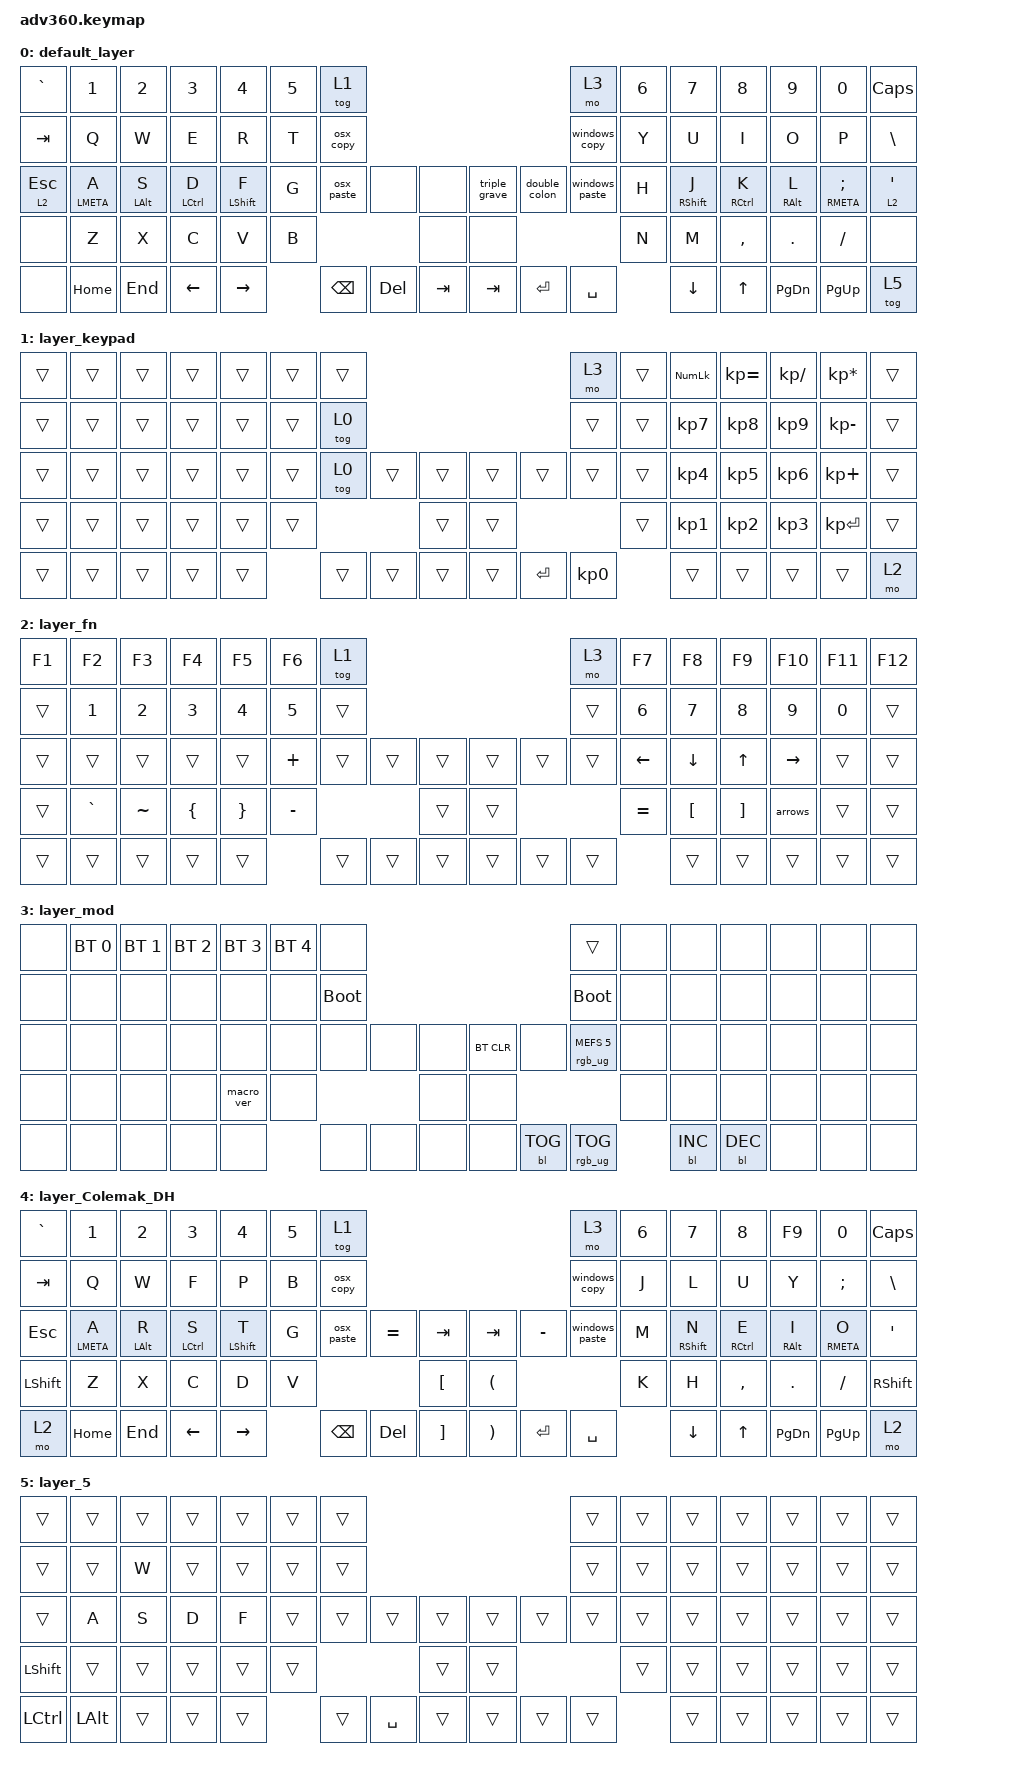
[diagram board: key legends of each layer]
/*
 * Copyright (c) 2020 The ZMK Contributors
 *
 * SPDX-License-Identifier: MIT
 */
/* THIS FILE WAS GENERATED!
 *
 * This file was generated automatically. You may or may not want to
 * edit it directly.
 */

#include <behaviors.dtsi>
#include <dt-bindings/zmk/backlight.h>
#include <dt-bindings/zmk/bt.h>
#include <dt-bindings/zmk/keys.h>
#include <dt-bindings/zmk/rgb.h>

/ {
    behaviors {
        #include "macros.dtsi"
    #include "version.dtsi"

        hm: homerow_mods {
            compatible = "zmk,behavior-hold-tap";
            label = "HOMEROW_MODS";
            #binding-cells = <2>;
            tapping-term-ms = <200>;
            require-prior-idle-ms = <130>;
            flavor = "tap-preferred";
            bindings = <&kp>, <&kp>;

            quick-tap-ms = <175>;
        };

        arrows: arrows {
            compatible = "zmk,behavior-mod-morph";
            label = "ARROWS";
            bindings = <&arrow>, <&fat_arrow>;

            #binding-cells = <0>;
            mods = <(MOD_LSFT|MOD_RSFT)>;
        };

        hk: hk {
            compatible = "zmk,behavior-hold-tap";
            label = "HK";
            #binding-cells = <2>;
            tapping-term-ms = <250>;
            require-prior-idle-ms = <200>;
            flavor = "tap-preferred";
            bindings = <&kp>, <&kp>;

            quick-tap-ms = <175>;
        };
    };

    macros {
        osx_copy: osx_copy {
            compatible = "zmk,behavior-macro";
            #binding-cells = <0>;
            bindings = <&kp LG(C)>;
            label = "OSX_COPY";
        };

        osx_paste: osx_paste {
            compatible = "zmk,behavior-macro";
            #binding-cells = <0>;
            bindings = <&kp LG(V)>;
            label = "OSX_PASTE";
        };

        windows_copy: windows_copy {
            compatible = "zmk,behavior-macro";
            #binding-cells = <0>;
            bindings = <&kp LC(C)>;
            label = "WINDOWS_COPY";
        };

        windows_paste: windows_paste {
            compatible = "zmk,behavior-macro";
            #binding-cells = <0>;
            bindings = <&kp LC(V)>;
            label = "WINDOWS_PASTE";
        };

        triple_grave: triple_grave {
            compatible = "zmk,behavior-macro";
            #binding-cells = <0>;
            bindings = <&kp GRAVE &kp GRAVE &kp GRAVE>;
            label = "TRIPLE_GRAVE";
        };

        arrow: arrow {
            compatible = "zmk,behavior-macro";
            #binding-cells = <0>;
            bindings = <&kp MINUS &kp GT>;
            label = "ARROW";
        };

        fat_arrow: fat_arrow {
            compatible = "zmk,behavior-macro";
            #binding-cells = <0>;
            bindings = <&kp EQUAL &kp GT>;
            label = "FAT_ARROW";
        };

        double_colon: double_colon {
            compatible = "zmk,behavior-macro";
            #binding-cells = <0>;
            bindings = <&kp COLON &kp COLON>;
            label = "DOUBLE_COLON";
        };
    };

    keymap {
        compatible = "zmk,keymap";

        default_layer {
            bindings = <
&kp GRAVE     &kp N1       &kp N2      &kp N3       &kp N4       &kp N5  &tog 1                                                          &mo 3           &kp N6  &kp N7       &kp N8       &kp N9      &kp N0          &kp CAPS
&kp TAB       &kp Q        &kp W       &kp E        &kp R        &kp T   &osx_copy                                                       &windows_copy   &kp Y   &kp U        &kp I        &kp O       &kp P           &kp BSLH
&lt 2 ESCAPE  &hm LMETA A  &hm LALT S  &hm LCTRL D  &hm LSHFT F  &kp G   &osx_paste  &none    &none        &triple_grave  &double_colon  &windows_paste  &kp H   &hm RSHFT J  &hk RCTRL K  &hm RALT L  &hm RMETA SEMI  &lt 2 SQT
&none         &kp Z        &kp X       &kp C        &kp V        &kp B                        &none        &none                                         &kp N   &kp M        &kp COMMA    &kp DOT     &kp FSLH        &none
&none         &kp HOME     &kp END     &kp LEFT     &kp RIGHT            &kp BSPC    &kp DEL  &kp TAB      &kp TAB        &kp ENTER      &kp SPACE               &kp DOWN     &kp UP       &kp PG_DN   &kp PG_UP       &tog 5
            >;
        };

        layer_keypad {
            bindings = <
&trans  &trans  &trans  &trans  &trans  &trans  &trans                                         &mo 3      &trans  &kp KP_NUM  &kp KP_EQUAL  &kp KP_DIVIDE  &kp KP_MULTIPLY  &trans
&trans  &trans  &trans  &trans  &trans  &trans  &tog 0                                         &trans     &trans  &kp KP_N7   &kp KP_N8     &kp KP_N9      &kp KP_MINUS     &trans
&trans  &trans  &trans  &trans  &trans  &trans  &tog 0  &trans  &trans      &trans  &trans     &trans     &trans  &kp KP_N4   &kp KP_N5     &kp KP_N6      &kp KP_PLUS      &trans
&trans  &trans  &trans  &trans  &trans  &trans                  &trans      &trans                        &trans  &kp KP_N1   &kp KP_N2     &kp KP_N3      &kp KP_ENTER     &trans
&trans  &trans  &trans  &trans  &trans          &trans  &trans  &trans      &trans  &kp ENTER  &kp KP_N0          &trans      &trans        &trans         &trans           &mo 2
            >;
        };

        layer_fn {
            bindings = <
&kp F1  &kp F2     &kp F3     &kp F4          &kp F5    &kp F6     &tog 1                                      &mo 3   &kp F7     &kp F8    &kp F9    &kp F10    &kp F11  &kp F12
&trans  &kp N1     &kp N2     &kp N3          &kp N4    &kp N5     &trans                                      &trans  &kp N6     &kp N7    &kp N8    &kp N9     &kp N0   &trans
&trans  &trans     &trans     &trans          &trans    &kp PLUS   &trans  &trans  &trans      &trans  &trans  &trans  &kp LEFT   &kp DOWN  &kp UP    &kp RIGHT  &trans   &trans
&trans  &kp GRAVE  &kp TILDE  &kp LEFT_BRACE  &kp RBRC  &kp MINUS                  &trans      &trans                  &kp EQUAL  &kp LBKT  &kp RBKT  &arrows    &trans   &trans
&trans  &trans     &trans     &trans          &trans               &trans  &trans  &trans      &trans  &trans  &trans             &trans    &trans    &trans     &trans   &trans
            >;
        };

        layer_mod {
            bindings = <
&none  &bt BT_SEL 0  &bt BT_SEL 1  &bt BT_SEL 2  &bt BT_SEL 3  &bt BT_SEL 4  &none                                                  &trans                  &none  &none       &none       &none  &none  &none
&none  &none         &none         &none         &none         &none         &bootloader                                            &bootloader             &none  &none       &none       &none  &none  &none
&none  &none         &none         &none         &none         &none         &none        &none  &none      &bt BT_CLR  &none       &rgb_ug RGB_MEFS_CMD 5  &none  &none       &none       &none  &none  &none
&none  &none         &none         &none         &macro_ver    &none                             &none      &none                                           &none  &none       &none       &none  &none  &none
&none  &none         &none         &none         &none                       &none        &none  &none      &none       &bl BL_TOG  &rgb_ug RGB_TOG                &bl BL_INC  &bl BL_DEC  &none  &none  &none
            >;
        };

        layer_Colemak_DH {
            bindings = <
&kp GRAVE   &kp N1       &kp N2      &kp N3       &kp N4        &kp N5  &tog 1                                                       &mo 3           &kp N6  &kp N7        &kp N8       &kp F9      &kp N0         &kp CAPS
&kp TAB     &kp Q        &kp W       &kp F        &kp P         &kp B   &osx_copy                                                    &windows_copy   &kp J   &kp L         &kp U        &kp Y       &kp SEMICOLON  &kp BACKSLASH
&kp ESC     &hm LMETA A  &hm LALT R  &hm LCTRL S  &hm LSHIFT T  &kp G   &osx_paste     &kp EQUAL  &kp TAB       &kp TAB   &kp MINUS  &windows_paste  &kp M   &hm RSHIFT N  &hm RCTRL E  &hm RALT I  &hm RMETA O    &kp SQT
&kp LSHIFT  &kp Z        &kp X       &kp C        &kp D         &kp V                             &kp LBKT      &kp LPAR                             &kp K   &kp H         &kp COMMA    &kp PERIOD  &kp SLASH      &kp RSHFT
&mo 2       &kp HOME     &kp END     &kp LEFT     &kp RIGHT             &kp BACKSPACE  &kp DEL    &kp RBKT      &kp RPAR  &kp ENTER  &kp SPACE               &kp DOWN      &kp UP       &kp PG_DN   &kp PG_UP      &mo 2
            >;
        };

        layer_5 {
            bindings = <
&trans     &trans    &trans  &trans  &trans  &trans  &trans                                         &trans  &trans  &trans  &trans  &trans  &trans  &trans
&trans     &trans    &kp W   &trans  &trans  &trans  &trans                                         &trans  &trans  &trans  &trans  &trans  &trans  &trans
&trans     &kp A     &kp S   &kp D   &kp F   &trans  &trans  &trans     &trans      &trans  &trans  &trans  &trans  &trans  &trans  &trans  &trans  &trans
&kp LSHFT  &trans    &trans  &trans  &trans  &trans                     &trans      &trans                  &trans  &trans  &trans  &trans  &trans  &trans
&kp LCTRL  &kp LALT  &trans  &trans  &trans          &trans  &kp SPACE  &trans      &trans  &trans  &trans          &trans  &trans  &trans  &trans  &trans
            >;
        };
    };
};
